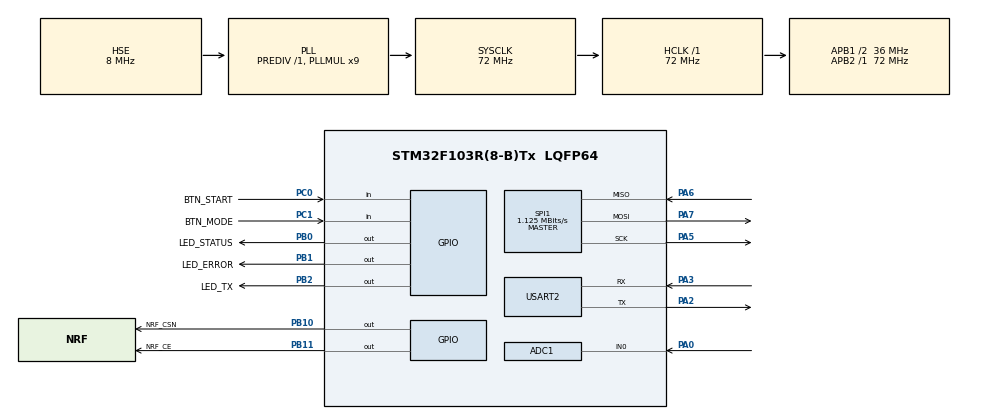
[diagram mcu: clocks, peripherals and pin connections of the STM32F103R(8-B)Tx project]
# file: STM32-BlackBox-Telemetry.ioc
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ADC1.Channel-0\#ChannelRegularConversion=ADC_CHANNEL_0
ADC1.NbrOfConversionFlag=1
ADC1.Rank-0\#ChannelRegularConversion=1
ADC1.SamplingTime-0\#ChannelRegularConversion=ADC_SAMPLETIME_1CYCLE_5
ADC1.master=1
Mcu.Family=STM32F1
Mcu.Name=STM32F103R(8-B)Tx
Mcu.Package=LQFP64
NVIC.PriorityGroup=NVIC_PRIORITYGROUP_4
PA0-WKUP.Signal=ADCx_IN0
PA13.Mode=Serial_Wire
PA13.Signal=SYS_JTMS-SWDIO
PA14.Mode=Serial_Wire
PA14.Signal=SYS_JTCK-SWCLK
PA2.Mode=Asynchronous
PA2.Signal=USART2_TX
PA3.Mode=Asynchronous
PA3.Signal=USART2_RX
PA5.Mode=Full_Duplex_Master
PA5.Signal=SPI1_SCK
PA6.Mode=Full_Duplex_Master
PA6.Signal=SPI1_MISO
PA7.Mode=Full_Duplex_Master
PA7.Signal=SPI1_MOSI
PB0.GPIO_Label=LED_STATUS
PB0.Signal=GPIO_Output
PB1.GPIO_Label=LED_ERROR
PB1.Signal=GPIO_Output
PB10.GPIO_Label=NRF_CSN
PB10.Signal=GPIO_Output
PB11.GPIO_Label=NRF_CE
PB11.Signal=GPIO_Output
PB2.GPIO_Label=LED_TX
PB2.Signal=GPIO_Output
PC0.GPIO_Label=BTN_START
PC0.GPIO_PuPd=GPIO_PULLDOWN
PC0.Signal=GPIO_Input
PC1.GPIO_Label=BTN_MODE
PC1.GPIO_PuPd=GPIO_PULLDOWN
PC1.Signal=GPIO_Input
PD0-OSC_IN.Mode=HSE-External-Oscillator
PD0-OSC_IN.Signal=RCC_OSC_IN
PD1-OSC_OUT.Mode=HSE-External-Oscillator
PD1-OSC_OUT.Signal=RCC_OSC_OUT
ProjectManager.HeapSize=0x200
ProjectManager.StackSize=0x400
ProjectManager.TargetToolchain=STM32CubeIDE
RCC.ADCPresc=RCC_ADCPCLK2_DIV6
RCC.AHBFreq_Value=72000000
RCC.APB1CLKDivider=RCC_HCLK_DIV2
RCC.APB1Freq_Value=36000000
RCC.APB1TimFreq_Value=72000000
RCC.APB2Freq_Value=72000000
RCC.APB2TimFreq_Value=72000000
RCC.HCLKFreq_Value=72000000
RCC.PLLMUL=RCC_PLL_MUL9
RCC.PLLSourceVirtual=RCC_PLLSOURCE_HSE
RCC.SYSCLKFreq_VALUE=72000000
RCC.SYSCLKSource=RCC_SYSCLKSOURCE_PLLCLK
RCC.USBFreq_Value=72000000
SH.ADCx_IN0.0=ADC1_IN0,IN0
SPI1.BaudRatePrescaler=SPI_BAUDRATEPRESCALER_64
SPI1.CalculateBaudRate=1.125 MBits/s
SPI1.Direction=SPI_DIRECTION_2LINES
SPI1.Mode=SPI_MODE_MASTER
SPI1.VirtualType=VM_MASTER
USART2.VirtualMode=VM_ASYNC
board=custom

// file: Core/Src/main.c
/* USER CODE BEGIN Header */
/**
  ******************************************************************************
  * @file           : main.c
  * @brief          : Main program body
  ******************************************************************************
  * @attention
  *
  * Copyright (c) 2026 STMicroelectronics.
  * All rights reserved.
  *
  * This software is licensed under terms that can be found in the LICENSE file
  * in the root directory of this software component.
  * If no LICENSE file comes with this software, it is provided AS-IS.
  *
  ******************************************************************************
  */
/* USER CODE END Header */
#include "main.h"

ADC_HandleTypeDef hadc1;

SPI_HandleTypeDef hspi1;

UART_HandleTypeDef huart2;

/* USER CODE BEGIN PV */
typedef struct {
  uint16_t pot_degeri;   // (0 - 4095) - 2 Byte
  uint8_t  buton_durumu; // (0 veya 1) - 1 Byte
  uint8_t  paket_sayaci; // (0-255) - 1 Byte
} TelemetryPacket;

TelemetryPacket veri_paketi; // added

/* USER CODE END PV */

void SystemClock_Config(void);
static void MX_GPIO_Init(void);
static void MX_ADC1_Init(void);
static void MX_SPI1_Init(void);
static void MX_USART2_UART_Init(void);

int main(void)
{

  /* MCU Configuration--------------------------------------------------------*/

  /* Reset of all peripherals, Initializes the Flash interface and the Systick. */
  HAL_Init();

  /* Configure the system clock */
  SystemClock_Config();

  /* Initialize all configured peripherals */
  MX_GPIO_Init();
  MX_ADC1_Init();
  MX_SPI1_Init();
  MX_USART2_UART_Init();

  /* Infinite loop */
  while (1)
  {

    /* USER CODE BEGIN 3 */

	        HAL_ADC_Start(&hadc1);
	        if(HAL_ADC_PollForConversion(&hadc1, 10) == HAL_OK)
	        {
	            veri_paketi.pot_degeri = HAL_ADC_GetValue(&hadc1);
	        }

	        veri_paketi.buton_durumu = HAL_GPIO_ReadPin(BTN_START_GPIO_Port, BTN_START_Pin);

	        veri_paketi.paket_sayaci++;

	        HAL_GPIO_WritePin(NRF_CSN_GPIO_Port, NRF_CSN_Pin, GPIO_PIN_RESET); // (CS Low)

	        HAL_SPI_Transmit(&hspi1, (uint8_t*)&veri_paketi, sizeof(veri_paketi), 100);

	        HAL_GPIO_WritePin(NRF_CSN_GPIO_Port, NRF_CSN_Pin, GPIO_PIN_SET);   // (CS High)

	        // 4. --- GERİ BİLDİRİM ---
	        HAL_GPIO_TogglePin(LED_STATUS_GPIO_Port, LED_STATUS_Pin);
	        HAL_Delay(100);

  }
  /* USER CODE END 3 */
}

void SystemClock_Config(void)
{
  RCC_OscInitTypeDef RCC_OscInitStruct = {0};
  RCC_ClkInitTypeDef RCC_ClkInitStruct = {0};
  RCC_PeriphCLKInitTypeDef PeriphClkInit = {0};

  /** Initializes the RCC Oscillators according to the specified parameters
  * in the RCC_OscInitTypeDef structure.
  */
  RCC_OscInitStruct.OscillatorType = RCC_OSCILLATORTYPE_HSE;
  RCC_OscInitStruct.HSEState = RCC_HSE_ON;
  RCC_OscInitStruct.HSEPredivValue = RCC_HSE_PREDIV_DIV1;
  RCC_OscInitStruct.HSIState = RCC_HSI_ON;
  RCC_OscInitStruct.PLL.PLLState = RCC_PLL_ON;
  RCC_OscInitStruct.PLL.PLLSource = RCC_PLLSOURCE_HSE;
  RCC_OscInitStruct.PLL.PLLMUL = RCC_PLL_MUL9;
  if (HAL_RCC_OscConfig(&RCC_OscInitStruct) != HAL_OK)
  {
    Error_Handler();
  }

  /** Initializes the CPU, AHB and APB buses clocks
  */
  RCC_ClkInitStruct.ClockType = RCC_CLOCKTYPE_HCLK|RCC_CLOCKTYPE_SYSCLK
                              |RCC_CLOCKTYPE_PCLK1|RCC_CLOCKTYPE_PCLK2;
  RCC_ClkInitStruct.SYSCLKSource = RCC_SYSCLKSOURCE_PLLCLK;
  RCC_ClkInitStruct.AHBCLKDivider = RCC_SYSCLK_DIV1;
  RCC_ClkInitStruct.APB1CLKDivider = RCC_HCLK_DIV2;
  RCC_ClkInitStruct.APB2CLKDivider = RCC_HCLK_DIV1;

  if (HAL_RCC_ClockConfig(&RCC_ClkInitStruct, FLASH_LATENCY_2) != HAL_OK)
  {
    Error_Handler();
  }
  PeriphClkInit.PeriphClockSelection = RCC_PERIPHCLK_ADC;
  PeriphClkInit.AdcClockSelection = RCC_ADCPCLK2_DIV6;
  if (HAL_RCCEx_PeriphCLKConfig(&PeriphClkInit) != HAL_OK)
  {
    Error_Handler();
  }
}

static void MX_ADC1_Init(void)
{

  ADC_ChannelConfTypeDef sConfig = {0};

  /** Common config
  */
  hadc1.Instance = ADC1;
  hadc1.Init.ScanConvMode = ADC_SCAN_DISABLE;
  hadc1.Init.ContinuousConvMode = DISABLE;
  hadc1.Init.DiscontinuousConvMode = DISABLE;
  hadc1.Init.ExternalTrigConv = ADC_SOFTWARE_START;
  hadc1.Init.DataAlign = ADC_DATAALIGN_RIGHT;
  hadc1.Init.NbrOfConversion = 1;
  if (HAL_ADC_Init(&hadc1) != HAL_OK)
  {
    Error_Handler();
  }

  /** Configure Regular Channel
  */
  sConfig.Channel = ADC_CHANNEL_0;
  sConfig.Rank = ADC_REGULAR_RANK_1;
  sConfig.SamplingTime = ADC_SAMPLETIME_1CYCLE_5;
  if (HAL_ADC_ConfigChannel(&hadc1, &sConfig) != HAL_OK)
  {
    Error_Handler();
  }

}

static void MX_SPI1_Init(void)
{

  /* SPI1 parameter configuration*/
  hspi1.Instance = SPI1;
  hspi1.Init.Mode = SPI_MODE_MASTER;
  hspi1.Init.Direction = SPI_DIRECTION_2LINES;
  hspi1.Init.DataSize = SPI_DATASIZE_8BIT;
  hspi1.Init.CLKPolarity = SPI_POLARITY_LOW;
  hspi1.Init.CLKPhase = SPI_PHASE_1EDGE;
  hspi1.Init.NSS = SPI_NSS_SOFT;
  hspi1.Init.BaudRatePrescaler = SPI_BAUDRATEPRESCALER_64;
  hspi1.Init.FirstBit = SPI_FIRSTBIT_MSB;
  hspi1.Init.TIMode = SPI_TIMODE_DISABLE;
  hspi1.Init.CRCCalculation = SPI_CRCCALCULATION_DISABLE;
  hspi1.Init.CRCPolynomial = 10;
  if (HAL_SPI_Init(&hspi1) != HAL_OK)
  {
    Error_Handler();
  }

}

static void MX_USART2_UART_Init(void)
{

  huart2.Instance = USART2;
  huart2.Init.BaudRate = 115200;
  huart2.Init.WordLength = UART_WORDLENGTH_8B;
  huart2.Init.StopBits = UART_STOPBITS_1;
  huart2.Init.Parity = UART_PARITY_NONE;
  huart2.Init.Mode = UART_MODE_TX_RX;
  huart2.Init.HwFlowCtl = UART_HWCONTROL_NONE;
  huart2.Init.OverSampling = UART_OVERSAMPLING_16;
  if (HAL_UART_Init(&huart2) != HAL_OK)
  {
    Error_Handler();
  }

}

static void MX_GPIO_Init(void)
{
  GPIO_InitTypeDef GPIO_InitStruct = {0};

  /* GPIO Ports Clock Enable */
  __HAL_RCC_GPIOD_CLK_ENABLE();
  __HAL_RCC_GPIOC_CLK_ENABLE();
  __HAL_RCC_GPIOA_CLK_ENABLE();
  __HAL_RCC_GPIOB_CLK_ENABLE();

  /*Configure GPIO pin Output Level */
  HAL_GPIO_WritePin(GPIOB, LED_STATUS_Pin|LED_ERROR_Pin|LED_TX_Pin|NRF_CSN_Pin
                          |NRF_CE_Pin, GPIO_PIN_RESET);

  /*Configure GPIO pins : BTN_START_Pin BTN_MODE_Pin */
  GPIO_InitStruct.Pin = BTN_START_Pin|BTN_MODE_Pin;
  GPIO_InitStruct.Mode = GPIO_MODE_INPUT;
  GPIO_InitStruct.Pull = GPIO_PULLDOWN;
  HAL_GPIO_Init(GPIOC, &GPIO_InitStruct);

  /*Configure GPIO pins : LED_STATUS_Pin LED_ERROR_Pin LED_TX_Pin NRF_CSN_Pin
                           NRF_CE_Pin */
  GPIO_InitStruct.Pin = LED_STATUS_Pin|LED_ERROR_Pin|LED_TX_Pin|NRF_CSN_Pin
                          |NRF_CE_Pin;
  GPIO_InitStruct.Mode = GPIO_MODE_OUTPUT_PP;
  GPIO_InitStruct.Pull = GPIO_NOPULL;
  GPIO_InitStruct.Speed = GPIO_SPEED_FREQ_LOW;
  HAL_GPIO_Init(GPIOB, &GPIO_InitStruct);

}

void Error_Handler(void)
{
  __disable_irq();
  while (1)
  {
  }
}
